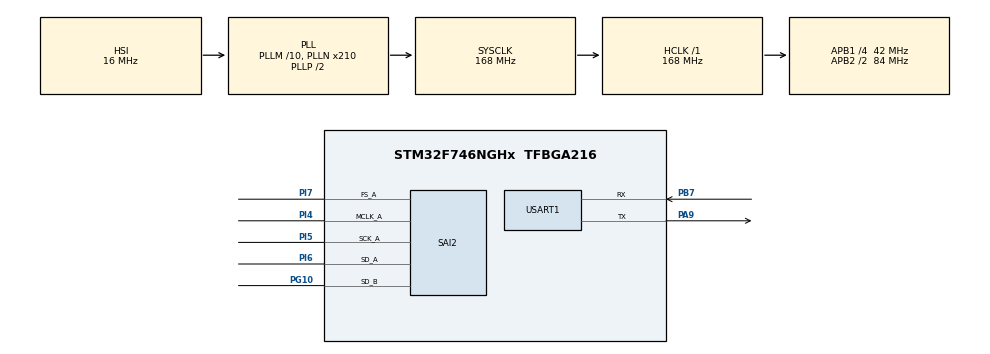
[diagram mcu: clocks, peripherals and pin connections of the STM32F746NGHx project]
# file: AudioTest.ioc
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Dma.Request0=SAI2_B
Dma.Request1=SAI2_A
Dma.SAI2_A.1.Direction=DMA_MEMORY_TO_PERIPH
Dma.SAI2_A.1.FIFOMode=DMA_FIFOMODE_DISABLE
Dma.SAI2_A.1.Instance=DMA2_Stream4
Dma.SAI2_A.1.MemDataAlignment=DMA_MDATAALIGN_BYTE
Dma.SAI2_A.1.MemInc=DMA_MINC_ENABLE
Dma.SAI2_A.1.Mode=DMA_CIRCULAR
Dma.SAI2_A.1.PeriphDataAlignment=DMA_PDATAALIGN_BYTE
Dma.SAI2_A.1.PeriphInc=DMA_PINC_DISABLE
Dma.SAI2_A.1.Priority=DMA_PRIORITY_LOW
Dma.SAI2_B.0.Direction=DMA_PERIPH_TO_MEMORY
Dma.SAI2_B.0.FIFOMode=DMA_FIFOMODE_DISABLE
Dma.SAI2_B.0.Instance=DMA2_Stream6
Dma.SAI2_B.0.MemDataAlignment=DMA_MDATAALIGN_HALFWORD
Dma.SAI2_B.0.MemInc=DMA_MINC_ENABLE
Dma.SAI2_B.0.Mode=DMA_CIRCULAR
Dma.SAI2_B.0.PeriphDataAlignment=DMA_PDATAALIGN_HALFWORD
Dma.SAI2_B.0.PeriphInc=DMA_PINC_DISABLE
Dma.SAI2_B.0.Priority=DMA_PRIORITY_LOW
Mcu.Family=STM32F7
Mcu.Name=STM32F746NGHx
Mcu.Package=TFBGA216
NVIC.DMA2_Stream4_IRQn=true\:0\:0\:false\:false\:true\:false\:true\:true
NVIC.DMA2_Stream6_IRQn=true\:0\:0\:false\:false\:true\:false\:true\:true
NVIC.PriorityGroup=NVIC_PRIORITYGROUP_4
PA13.Mode=Serial_Wire
PA13.Signal=SYS_JTMS-SWDIO
PA14.Mode=Serial_Wire
PA14.Signal=SYS_JTCK-SWCLK
PA9.Mode=Asynchronous
PA9.Signal=USART1_TX
PB7.Mode=Asynchronous
PB7.Signal=USART1_RX
PC14/OSC32_IN.Mode=LSE-External-Oscillator
PC14/OSC32_IN.Signal=RCC_OSC32_IN
PC15/OSC32_OUT.Mode=LSE-External-Oscillator
PC15/OSC32_OUT.Signal=RCC_OSC32_OUT
PG10.Mode=SAI_B_SyncSlave
PG10.Signal=SAI2_SD_B
PH0/OSC_IN.Mode=HSE-External-Oscillator
PH0/OSC_IN.Signal=RCC_OSC_IN
PH1/OSC_OUT.Mode=HSE-External-Oscillator
PH1/OSC_OUT.Signal=RCC_OSC_OUT
PI4.Mode=SAI_A_MasterWithClock
PI4.Signal=SAI2_MCLK_A
PI5.Mode=SAI_A_MasterWithClock
PI5.Signal=SAI2_SCK_A
PI6.Mode=SAI_A_MasterWithClock
PI6.Signal=SAI2_SD_A
PI7.Mode=SAI_A_MasterWithClock
PI7.Signal=SAI2_FS_A
ProjectManager.HeapSize=0x200
ProjectManager.StackSize=0x400
ProjectManager.TargetToolchain=CMake
RCC.AHBFreq_Value=168000000
RCC.APB1CLKDivider=RCC_HCLK_DIV4
RCC.APB1Freq_Value=42000000
RCC.APB1TimFreq_Value=84000000
RCC.APB2CLKDivider=RCC_HCLK_DIV2
RCC.APB2Freq_Value=84000000
RCC.APB2TimFreq_Value=168000000
RCC.CortexFreq_Value=168000000
RCC.HCLKFreq_Value=168000000
RCC.HSE_VALUE=25000000
RCC.HSI_VALUE=16000000
RCC.PLLM=10
RCC.PLLN=210
RCC.PLLSourceVirtual=RCC_PLLSOURCE_HSI
RCC.SYSCLKFreq_VALUE=168000000
RCC.SYSCLKSource=RCC_SYSCLKSOURCE_PLLCLK
RCC.USBFreq_Value=168000000
RCC.VCOOutputFreq_Value=336000000
SAI2.ErrorAudioFreq-SAI_A_MasterWithClock=56.25 %
SAI2.Instance-SAI_A_MasterWithClock=SAI$Index_Block_A
SAI2.Instance-SAI_B_SyncSlave=SAI$Index_Block_B
SAI2.MClockEnable-SAI_A_MasterWithClock=SAI_MASTERCLOCK_ENABLE
SAI2.RealAudioFreq-SAI_A_MasterWithClock=300.0 KHz
SAI2.VirtualMode-SAI_A_MasterWithClock=VM_MASTER
SAI2.VirtualMode-SAI_B_SyncSlave=VM_SLAVE
USART1.VirtualMode-Asynchronous=VM_ASYNC
VP_TIM1_VS_ClockSourceINT.Mode=Internal
board=STM32F746G-DISCO

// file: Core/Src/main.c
/* USER CODE BEGIN Header */
/**
  ******************************************************************************
  * @file           : main.c
  * @brief          : Main program body
  ******************************************************************************
  * @attention
  *
  * Copyright (c) 2024 STMicroelectronics.
  * All rights reserved.
  *
  * This software is licensed under terms that can be found in the LICENSE file
  * in the root directory of this software component.
  * If no LICENSE file comes with this software, it is provided AS-IS.
  *
  ******************************************************************************
  */
/* USER CODE END Header */
#include "main.h"
#include "dma.h"
#include "sai.h"
#include "tim.h"
#include "usart.h"
#include "gpio.h"

/* USER CODE BEGIN Includes */
#include <stdio.h>
#include "stm32746g_discovery_audio.h"
/* USER CODE END Includes */

/* USER CODE BEGIN PD */
#define PUTCHAR_PROTOTYPE int __io_putchar(int ch)
#define PCM_BUFFER_SIZE 512
/* USER CODE END PD */

/* USER CODE BEGIN PV */
uint16_t PCMBuffer[PCM_BUFFER_SIZE];
uint8_t print_PCM = 0;
/* USER CODE END PV */

void SystemClock_Config(void);
void PeriphCommonClock_Config(void);

int main(void)
{

  /* MCU Configuration--------------------------------------------------------*/

  /* Reset of all peripherals, Initializes the Flash interface and the Systick. */
  HAL_Init();

  /* Configure the system clock */
  SystemClock_Config();

  /* Configure the peripherals common clocks */
  PeriphCommonClock_Config();

  /* Initialize all configured peripherals */
  MX_GPIO_Init();
  MX_DMA_Init();
  MX_SAI2_Init();
  MX_USART1_UART_Init();
  MX_TIM1_Init();
  /* USER CODE BEGIN 2 */
  BSP_AUDIO_IN_OUT_Init(INPUT_DEVICE_DIGITAL_MICROPHONE_2, OUTPUT_DEVICE_BOTH, 48000, 16, 2);
  BSP_AUDIO_IN_Record(PCMBuffer, PCM_BUFFER_SIZE);
  if (BSP_AUDIO_OUT_Play(PCMBuffer, PCM_BUFFER_SIZE) != AUDIO_OK)
  {
    printf("Play Error\n");
    while (1)
    {
      /* code */
    }

  }

  /* USER CODE END 2 */

  /* Infinite loop */
  /* USER CODE BEGIN WHILE */
  while (1)
  {
    if (print_PCM == 1)
    {
      printf("PCM Buffer:\n");
      for (size_t i = 0; i < 10; i++)
      {
        printf("%d ", PCMBuffer[i]);
      }
      printf("...\n");
      print_PCM = 0;
    }

    /* USER CODE END WHILE */

  }
}

void SystemClock_Config(void)
{
  RCC_OscInitTypeDef RCC_OscInitStruct = {0};
  RCC_ClkInitTypeDef RCC_ClkInitStruct = {0};

  /** Configure LSE Drive Capability
  */
  HAL_PWR_EnableBkUpAccess();

  /** Configure the main internal regulator output voltage
  */
  __HAL_RCC_PWR_CLK_ENABLE();
  __HAL_PWR_VOLTAGESCALING_CONFIG(PWR_REGULATOR_VOLTAGE_SCALE2);

  /** Initializes the RCC Oscillators according to the specified parameters
  * in the RCC_OscInitTypeDef structure.
  */
  RCC_OscInitStruct.OscillatorType = RCC_OSCILLATORTYPE_HSI;
  RCC_OscInitStruct.HSIState = RCC_HSI_ON;
  RCC_OscInitStruct.HSICalibrationValue = RCC_HSICALIBRATION_DEFAULT;
  RCC_OscInitStruct.PLL.PLLState = RCC_PLL_ON;
  RCC_OscInitStruct.PLL.PLLSource = RCC_PLLSOURCE_HSI;
  RCC_OscInitStruct.PLL.PLLM = 10;
  RCC_OscInitStruct.PLL.PLLN = 210;
  RCC_OscInitStruct.PLL.PLLP = RCC_PLLP_DIV2;
  RCC_OscInitStruct.PLL.PLLQ = 2;
  if (HAL_RCC_OscConfig(&RCC_OscInitStruct) != HAL_OK)
  {
    Error_Handler();
  }

  /** Initializes the CPU, AHB and APB buses clocks
  */
  RCC_ClkInitStruct.ClockType = RCC_CLOCKTYPE_HCLK|RCC_CLOCKTYPE_SYSCLK
                              |RCC_CLOCKTYPE_PCLK1|RCC_CLOCKTYPE_PCLK2;
  RCC_ClkInitStruct.SYSCLKSource = RCC_SYSCLKSOURCE_PLLCLK;
  RCC_ClkInitStruct.AHBCLKDivider = RCC_SYSCLK_DIV1;
  RCC_ClkInitStruct.APB1CLKDivider = RCC_HCLK_DIV4;
  RCC_ClkInitStruct.APB2CLKDivider = RCC_HCLK_DIV2;

  if (HAL_RCC_ClockConfig(&RCC_ClkInitStruct, FLASH_LATENCY_5) != HAL_OK)
  {
    Error_Handler();
  }
}

void PeriphCommonClock_Config(void)
{
  RCC_PeriphCLKInitTypeDef PeriphClkInitStruct = {0};

  /** Initializes the peripherals clock
  */
  PeriphClkInitStruct.PeriphClockSelection = RCC_PERIPHCLK_SAI2;
  PeriphClkInitStruct.PLLSAI.PLLSAIN = 192;
  PeriphClkInitStruct.PLLSAI.PLLSAIR = 2;
  PeriphClkInitStruct.PLLSAI.PLLSAIQ = 2;
  PeriphClkInitStruct.PLLSAI.PLLSAIP = RCC_PLLSAIP_DIV2;
  PeriphClkInitStruct.PLLSAIDivQ = 1;
  PeriphClkInitStruct.PLLSAIDivR = RCC_PLLSAIDIVR_2;
  PeriphClkInitStruct.Sai2ClockSelection = RCC_SAI2CLKSOURCE_PLLSAI;
  if (HAL_RCCEx_PeriphCLKConfig(&PeriphClkInitStruct) != HAL_OK)
  {
    Error_Handler();
  }
}

/* USER CODE BEGIN 4 */
PUTCHAR_PROTOTYPE
{
  HAL_UART_Transmit(&huart1, (uint8_t *)&ch, 1, 0xFFFF);
  return ch;
}
void BSP_AUDIO_IN_TransferComplete_CallBack()
{
  print_PCM = 1;
}
/* USER CODE END 4 */

void Error_Handler(void)
{
  __disable_irq();
  while (1)
  {
  }
}
